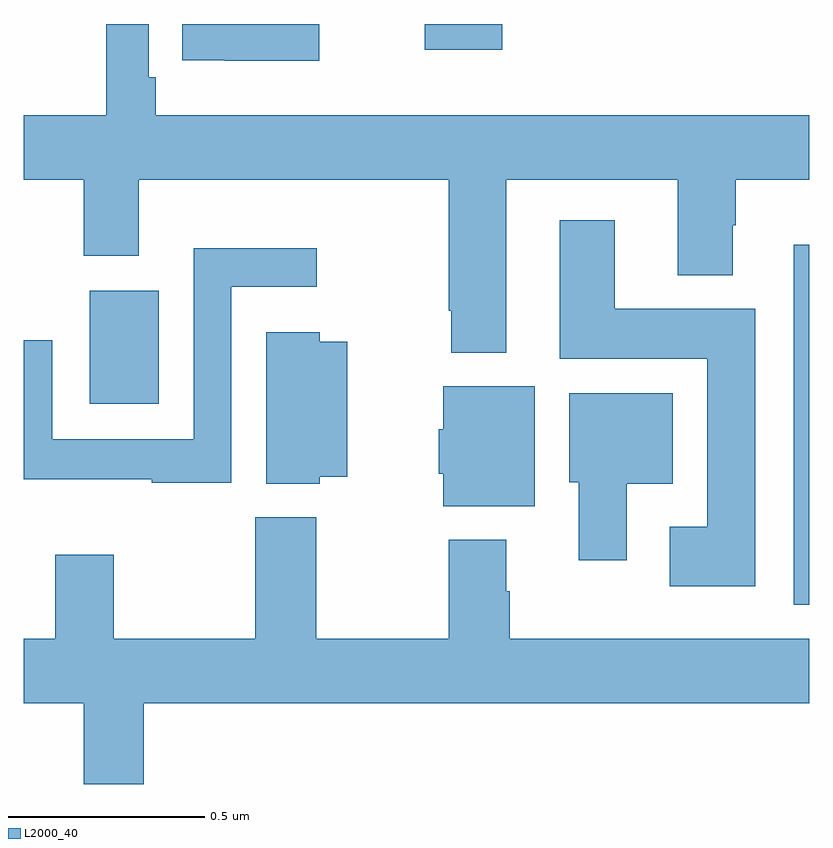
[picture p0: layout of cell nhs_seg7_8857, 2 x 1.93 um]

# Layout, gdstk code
import gdstk
lib = gdstk.Library(unit=1e-6, precision=1e-09)
def R(c, l, rs):  # rectangles x0, y0, x1, y1
    for r in rs: c.add(gdstk.rectangle(r[:2], r[2:], *l))
def P(c, l, *ps):  # polygons
    for p in ps: c.add(gdstk.Polygon(p, *l))
L2000_40 = (2000, 40)

nhs_seg7_8857 = lib.new_cell('nhs_seg7_8857')
R(nhs_seg7_8857, L2000_40, [(231.96,1011.522,232,1012.438), (230.168,1012.034,230.344,1012.321), (231.021,1012.934,231.218,1013)])
P(nhs_seg7_8857, L2000_40, [(231.229,1012.604),(231.665,1012.604),(231.665,1012.361),(231.805,1012.361),(231.805,1012.488),(231.813,1012.488),(231.813,1012.604),(232,1012.604),(232,1012.768),(230.336,1012.768),(230.336,1012.864),(230.319,1012.864),(230.319,1013),(230.211,1013),(230.211,1012.768),(230,1012.768),(230,1012.604),(230.153,1012.604),(230.153,1012.41),(230.293,1012.41),(230.293,1012.604),(231.082,1012.604),(231.082,1012.27),(231.089,1012.27),(231.089,1012.163),(231.229,1012.163)],
  [(230.752,1013),(230.404,1013),(230.404,1012.908),(230.512,1012.908),(230.512,1012.907),(230.752,1012.907)],
  [(231.862,1012.276),(231.505,1012.276),(231.505,1012.501),(231.365,1012.501),(231.365,1012.148),(231.74,1012.148),(231.74,1011.721),(231.645,1011.721),(231.645,1011.569),(231.862,1011.569)],
  [(230.529,1012.332),(230.746,1012.332),(230.746,1012.429),(230.433,1012.429),(230.433,1011.943),(230.073,1011.943),(230.073,1012.195),(230,1012.195),(230,1011.842),(230.326,1011.842),(230.326,1011.832),(230.529,1011.832)],
  [(230.754,1011.848),(230.824,1011.848),(230.824,1012.192),(230.754,1012.192),(230.754,1012.216),(230.618,1012.216),(230.618,1011.83),(230.754,1011.83)],
  [(231.301,1012.078),(231.068,1012.078),(231.068,1011.969),(231.056,1011.969),(231.056,1011.855),(231.068,1011.855),(231.068,1011.773),(231.301,1011.773)],
  [(231.535,1011.83),(231.652,1011.83),(231.652,1012.06),(231.389,1012.06),(231.389,1011.834),(231.413,1011.834),(231.413,1011.636),(231.535,1011.636)],
  [(230.306,1011.272),(232,1011.272),(232,1011.436),(231.237,1011.436),(231.237,1011.557),(231.229,1011.557),(231.229,1011.688),(231.082,1011.688),(231.082,1011.436),(230.745,1011.436),(230.745,1011.745),(230.59,1011.745),(230.59,1011.436),(230.229,1011.436),(230.229,1011.649),(230.081,1011.649),(230.081,1011.436),(230,1011.436),(230,1011.272),(230.153,1011.272),(230.153,1011.066),(230.306,1011.066)])

lib.write_gds('nhs_seg7_8857.gds')
